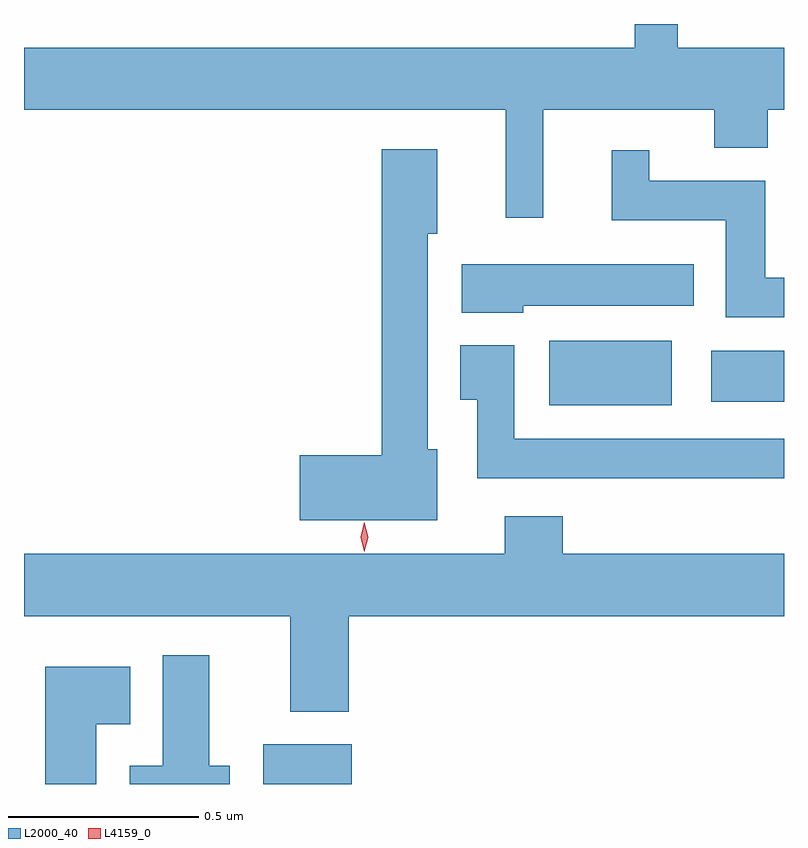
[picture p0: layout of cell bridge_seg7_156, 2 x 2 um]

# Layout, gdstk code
import gdstk
lib = gdstk.Library(unit=1e-6, precision=1e-09)
def R(c, l, rs):  # rectangles x0, y0, x1, y1
    for r in rs: c.add(gdstk.rectangle(r[:2], r[2:], *l))
def P(c, l, *ps):  # polygons
    for p in ps: c.add(gdstk.Polygon(p, *l))
L2000_40 = (2000, 40)
L4159_0 = (4159, 0)

bridge_seg7_156 = lib.new_cell('bridge_seg7_156')
R(bridge_seg7_156, L2000_40, [(540.881,1053.454,541.114,1053.559), (541.634,1054.451,541.957,1054.621), (542.061,1054.46,542.252,1054.594)])
P(bridge_seg7_156, L2000_40, [(541.619,1055.228),(542.069,1055.228),(542.069,1055.129),(542.209,1055.129),(542.209,1055.228),(542.252,1055.228),(542.252,1055.392),(541.973,1055.392),(541.973,1055.454),(541.859,1055.454),(541.859,1055.392),(540.252,1055.392),(540.252,1055.228),(541.52,1055.228),(541.52,1054.944),(541.619,1054.944)],
  [(541.339,1054.335),(541.315,1054.335),(541.315,1054.902),(541.339,1054.902),(541.339,1055.125),(541.193,1055.125),(541.193,1054.319),(540.978,1054.319),(540.978,1054.148),(541.339,1054.148)],
  [(542.252,1054.786),(542.203,1054.786),(542.203,1055.041),(541.897,1055.041),(541.897,1055.122),(541.799,1055.122),(541.799,1054.937),(542.099,1054.937),(542.099,1054.682),(542.252,1054.682)],
  [(541.566,1054.712),(542.014,1054.712),(542.014,1054.822),(541.404,1054.822),(541.404,1054.694),(541.566,1054.694)],
  [(542.252,1054.363),(541.542,1054.363),(541.542,1054.609),(541.4,1054.609),(541.4,1054.465),(541.445,1054.465),(541.445,1054.259),(542.252,1054.259)],
  [(541.106,1053.896),(542.252,1053.896),(542.252,1054.06),(541.67,1054.06),(541.67,1054.159),(541.517,1054.159),(541.517,1054.06),(540.252,1054.06),(540.252,1053.896),(540.953,1053.896),(540.953,1053.644),(541.106,1053.644)],
  [(540.793,1053.502),(540.739,1053.502),(540.739,1053.793),(540.617,1053.793),(540.617,1053.502),(540.53,1053.502),(540.53,1053.454),(540.793,1053.454)],
  [(540.442,1053.611),(540.532,1053.611),(540.532,1053.763),(540.308,1053.763),(540.308,1053.454),(540.442,1053.454)])
P(bridge_seg7_156, L4159_0, [(541.148,1054.065),(541.148,1054.065),(541.138,1054.104),(541.148,1054.143),(541.148,1054.143),(541.148,1054.143),(541.158,1054.104),(541.148,1054.065)])

lib.write_gds('bridge_seg7_156.gds')
